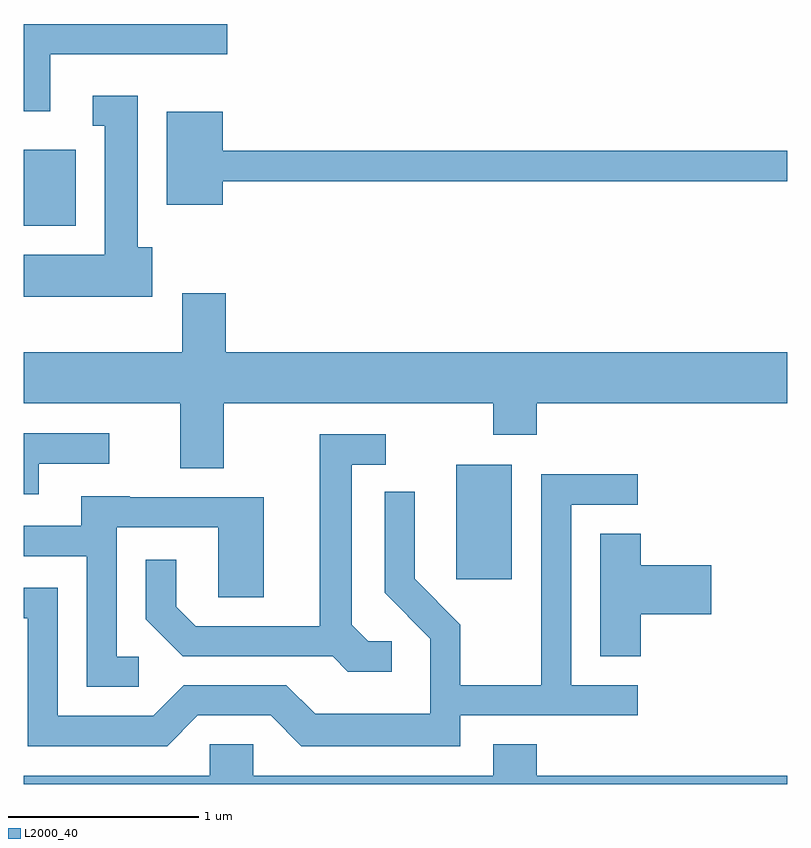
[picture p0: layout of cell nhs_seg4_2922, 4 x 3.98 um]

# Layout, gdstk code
import gdstk
lib = gdstk.Library(unit=1e-6, precision=1e-09)
def R(c, l, rs):  # rectangles x0, y0, x1, y1
    for r in rs: c.add(gdstk.rectangle(r[:2], r[2:], *l))
def P(c, l, *ps):  # polygons
    for p in ps: c.add(gdstk.Polygon(p, *l))
L2000_40 = (2000, 40)

nhs_seg4_2922 = lib.new_cell('nhs_seg4_2922')
R(nhs_seg4_2922, L2000_40, [(271.876,1387.056,272.169,1387.654), (269.611,1388.906,269.884,1389.304)])
P(nhs_seg4_2922, L2000_40, [(269.749,1389.806),(270.678,1389.806),(270.678,1389.964),(269.611,1389.964),(269.611,1389.506),(269.749,1389.506)],
  [(270.284,1388.794),(270.209,1388.794),(270.209,1389.589),(269.973,1389.589),(269.973,1389.431),(270.036,1389.431),(270.036,1388.754),(269.611,1388.754),(269.611,1388.536),(270.284,1388.536)],
  [(270.654,1389.141),(273.611,1389.141),(273.611,1389.299),(270.654,1389.299),(270.654,1389.504),(270.361,1389.504),(270.361,1389.016),(270.654,1389.016)],
  [(270.659,1387.976),(272.071,1387.976),(272.071,1387.811),(272.299,1387.811),(272.299,1387.976),(273.611,1387.976),(273.611,1388.244),(270.669,1388.244),(270.669,1388.554),(270.441,1388.554),(270.441,1388.244),(269.611,1388.244),(269.611,1387.976),(270.431,1387.976),(270.431,1387.636),(270.659,1387.636)],
  [(269.689,1387.661),(270.058,1387.661),(270.058,1387.819),(269.611,1387.819),(269.611,1387.501),(269.689,1387.501)],
  [(271.538,1386.729),(271.417,1386.729),(271.329,1386.817),(271.329,1387.656),(271.508,1387.656),(271.508,1387.814),(271.161,1387.814),(271.161,1386.809),(270.512,1386.809),(270.409,1386.912),(270.409,1387.158),(270.251,1387.158),(270.251,1386.844),(270.444,1386.651),(271.229,1386.651),(271.309,1386.571),(271.538,1386.571)],
  [(270.522,1386.341),(270.904,1386.341),(271.064,1386.181),(271.899,1386.181),(271.899,1386.341),(272.828,1386.341),(272.828,1386.499),(272.479,1386.499),(272.479,1387.446),(272.828,1387.446),(272.828,1387.604),(272.321,1387.604),(272.321,1386.499),(271.899,1386.499),(271.899,1386.817),(271.659,1387.057),(271.659,1387.513),(271.501,1387.513),(271.501,1386.984),(271.741,1386.744),(271.741,1386.349),(271.137,1386.349),(270.987,1386.499),(270.449,1386.499),(270.289,1386.339),(269.789,1386.339),(269.789,1387.009),(269.611,1387.009),(269.611,1386.851),(269.631,1386.851),(269.631,1386.181),(270.362,1386.181)],
  [(270.213,1386.649),(270.099,1386.649),(270.099,1387.326),(270.631,1387.326),(270.631,1386.961),(270.869,1386.961),(270.869,1387.484),(270.165,1387.484),(270.165,1387.489),(269.911,1387.489),(269.911,1387.334),(269.611,1387.334),(269.611,1387.176),(269.941,1387.176),(269.941,1386.491),(270.213,1386.491)],
  [(272.844,1386.871),(273.214,1386.871),(273.214,1387.129),(272.844,1387.129),(272.844,1387.294),(272.631,1387.294),(272.631,1386.651),(272.844,1386.651)],
  [(273.611,1386.024),(272.299,1386.024),(272.299,1386.189),(272.071,1386.189),(272.071,1386.024),(270.814,1386.024),(270.814,1386.189),(270.586,1386.189),(270.586,1386.024),(269.611,1386.024),(269.611,1385.982),(273.611,1385.982)])

lib.write_gds('nhs_seg4_2922.gds')
